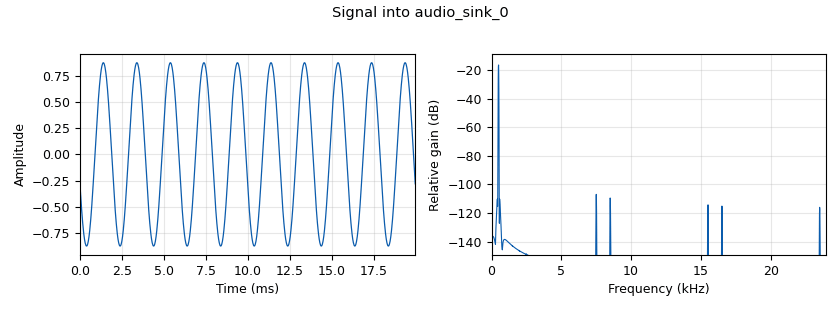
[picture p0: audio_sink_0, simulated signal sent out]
<?xml version='1.0' encoding='utf-8'?>
<?grc format='1' created='3.7.9'?>
<flow_graph>
<block>
<key>options</key>
<param><key>id</key><value>top_block</value></param>
<param><key>category</key><value>Custom</value></param>
<param><key>generate_options</key><value>wx_gui</value></param>
</block>
<block>
<key>variable_slider</key>
<param><key>id</key><value>f</value></param>
<param><key>converver</key><value>float_converter</value></param>
<param><key>value</key><value>500</value></param>
<param><key>label</key><value>F</value></param>
<param><key>max</key><value>4000</value></param>
<param><key>min</key><value>100</value></param>
<param><key>num_steps</key><value>100</value></param>
<param><key>style</key><value>wx.SL_HORIZONTAL</value></param>
</block>
<block>
<key>variable</key>
<param><key>id</key><value>samp_rate</value></param>
<param><key>value</key><value>8000</value></param>
</block>
<block>
<key>variable</key>
<param><key>id</key><value>sound_card</value></param>
<param><key>value</key><value>48000</value></param>
</block>
<block>
<key>analog_sig_source_x</key>
<param><key>id</key><value>analog_sig_source_x_0</value></param>
<param><key>amp</key><value>.5</value></param>
<param><key>freq</key><value>f</value></param>
<param><key>offset</key><value>0</value></param>
<param><key>type</key><value>float</value></param>
<param><key>samp_rate</key><value>samp_rate</value></param>
<param><key>waveform</key><value>analog.GR_COS_WAVE</value></param>
</block>
<block>
<key>audio_sink</key>
<param><key>id</key><value>audio_sink_0</value></param>
<param><key>samp_rate</key><value>48000</value></param>
</block>
<block>
<key>blocks_multiply_const_vxx</key>
<param><key>id</key><value>blocks_multiply_const_vxx_0</value></param>
<param><key>const</key><value>1.75</value></param>
<param><key>type</key><value>float</value></param>
</block>
<block>
<key>rational_resampler_xxx</key>
<param><key>id</key><value>rational_resampler_xxx_0</value></param>
<param><key>decim</key><value>samp_rate</value></param>
<param><key>interp</key><value>sound_card</value></param>
<param><key>taps</key><value></value></param>
<param><key>type</key><value>fff</value></param>
</block>
<connection><source_block_id>analog_sig_source_x_0</source_block_id><sink_block_id>rational_resampler_xxx_0</sink_block_id><source_key>0</source_key><sink_key>0</sink_key></connection>
<connection><source_block_id>blocks_multiply_const_vxx_0</source_block_id><sink_block_id>audio_sink_0</sink_block_id><source_key>0</source_key><sink_key>0</sink_key></connection>
<connection><source_block_id>rational_resampler_xxx_0</source_block_id><sink_block_id>blocks_multiply_const_vxx_0</sink_block_id><source_key>0</source_key><sink_key>0</sink_key></connection>
</flow_graph>
